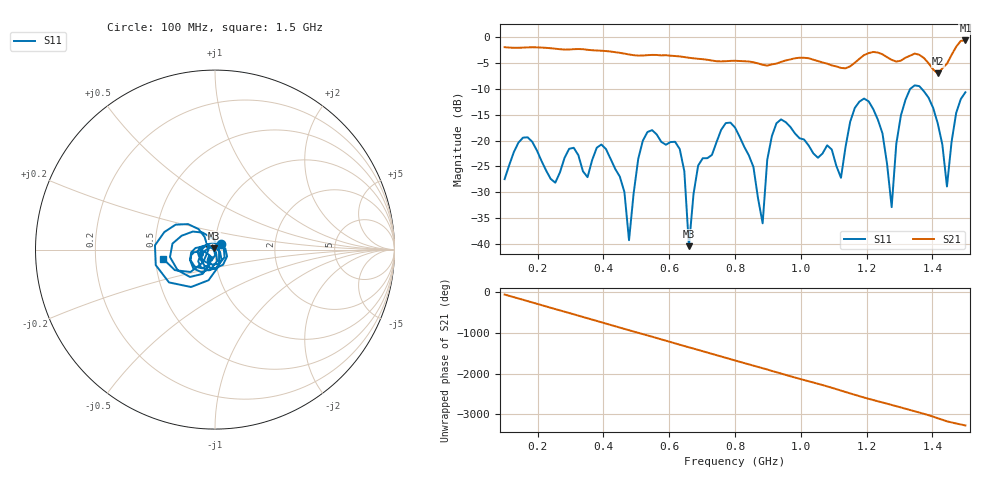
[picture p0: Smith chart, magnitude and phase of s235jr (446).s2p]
! NanoVNA-App
! Date: 2025-09-25 15:07:38
! Start: 100MHz Stop: 1,5GHz Points: 101
! S-Parameter data: F S11 S21 S12 S22
# Hz S RI R 50
!  Frequency  S11_Real  S11_Imag  S21_Real  S21_Imag  S12_Real  S12_Imag  S22_Real  S22_Imag
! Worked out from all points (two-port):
!   101 points, 100 MHz to 1.5 GHz, reference 50 ohm
!   highest |S21| = -0.66 dB at 1.5 GHz (marker M1); lowest = -7.0 dB at 1.416 GHz (marker M2)
!   |S21| within 3 dB of the highest: start of sweep to 615.9 MHz; 1.189 GHz to 1.256 GHz (67.36 MHz wide, 5.51 % of centre) (the widest 2 of 4)
!   lowest |S11| = -40.4 dB at 660 MHz (marker M3), VSWR 1.02, Z = 49.3 + j0.621 ohm
!   |S11| at or under -10 dB: start of sweep to 1.333 GHz; 1.367 GHz to end of sweep
!   S12 and S22 are empty: the file has one direction only
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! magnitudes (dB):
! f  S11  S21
! 100 MHz  -27.5  -2.0
! 156 MHz  -19.4  -2.0
! 338 MHz  -25.9  -2.4
! 408 MHz  -21.7  -2.7
! 478 MHz  -39.3  -3.4
! 520 MHz  -20.0  -3.6
! 576 MHz  -20.3  -3.5
! 632 MHz  -21.6  -3.7
! 660 MHz  -40.4  -4.0
! 688 MHz  -24.8  -4.2
! 800 MHz  -17.5  -4.6
! 884 MHz  -36.0  -5.4
! 926 MHz  -16.7  -5.1
! 1.038 GHz  -22.5  -4.4
! 1.122 GHz  -27.2  -6.0
! 1.206 GHz  -12.4  -3.1
! 1.276 GHz  -32.9  -4.4
! 1.29 GHz  -20.7  -4.7
! 1.332 GHz  -10.0  -3.6
! 1.416 GHz  -16.7  -7.0
! 1.444 GHz  -28.9  -5.2
! 1.5 GHz  -10.7  -0.7
